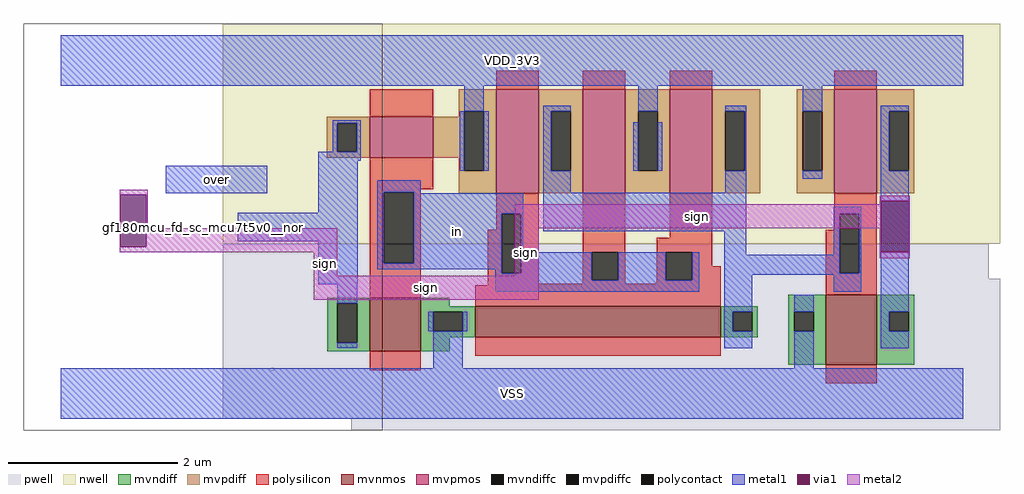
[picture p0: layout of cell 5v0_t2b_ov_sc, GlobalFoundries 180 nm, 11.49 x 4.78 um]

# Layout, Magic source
magic
tech gf180mcuD
magscale 1 10
<< metal1 >>
rect -3336 -1456 -1210 -1336
rect -3088 -1708 -2849 -1644
rect -2919 -1822 -2683 -1754
rect -2504 -1888 -2297 -1708
rect -1773 -1900 -1503 -1853
rect -3336 -2240 -1210 -2120
<< via1 >>
rect -3195 -1835 -3134 -1712
rect -1405 -1848 -1339 -1726
<< metal2 >>
rect -3197 -1712 -3131 -1700
rect -3197 -1835 -3195 -1712
rect -3134 -1791 -3131 -1712
rect -1407 -1726 -1337 -1714
rect -1407 -1735 -1405 -1726
rect -2266 -1791 -1405 -1735
rect -3134 -1835 -2684 -1791
rect -3197 -1847 -2684 -1835
rect -2740 -1903 -2684 -1847
rect -2266 -1903 -2210 -1791
rect -1407 -1848 -1405 -1791
rect -1339 -1848 -1337 -1726
rect -1407 -1861 -1337 -1848
rect -2740 -1959 -2210 -1903
use gf180mcu_fd_sc_mcu7t5v0__nor2_1  gf180mcu_fd_sc_mcu7t5v0__nor2_1_0 $PDKPATH/libs.ref/gf180mcu_fd_sc_mcu7t5v0/mag
transform 1 0 -3336 0 1 -2180
box -86 -86 758 870
use inverter_pair_short  inverter_pair_short_0 /home/eclipse
transform 1 0 -2398 0 1 -2124
box -556 -142 925 814
use not_internal_4  not_internal_4_0 /home/eclipse
transform 1 0 -1658 0 1 -2180
box -86 -86 534 870
<< labels >>
rlabel metal1 -3088 -1708 -2849 -1644 1 over
port 3 n signal bidirectional
rlabel metal2 -3134 -1847 -2684 -1791 1 sign
port 1 n signal bidirectional
rlabel metal2 -2740 -1959 -2684 -1791 1 sign
port 1 n signal bidirectional
rlabel metal2 -2740 -1959 -2210 -1903 1 sign
port 1 n signal bidirectional
rlabel metal2 -2266 -1959 -2210 -1735 1 sign
port 1 n signal bidirectional
rlabel metal2 -2266 -1791 -1405 -1735 1 sign
port 1 n signal bidirectional
rlabel metal1 -2504 -1888 -2297 -1708 1 in
port 2 n signal bidirectional
rlabel metal1 -3336 -2240 -1210 -2120 1 VSS
port 4 n ground bidirectional
rlabel metal1 -3336 -1456 -1210 -1336 1 VDD_3V3
port 5 n power bidirectional
<< end >>

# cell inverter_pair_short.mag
magic
tech gf180mcuD
magscale 1 10
<< nwell >>
rect -556 296 925 814
<< pwell >>
rect -556 4 925 296
rect -556 -1 -444 4
rect -435 -1 925 4
rect -556 -116 925 -1
rect -253 -142 925 -116
<< mvnmos >>
rect -210 43 -90 170
rect 38 77 616 149
<< mvpmos >>
rect -210 499 -60 595
rect 88 416 188 660
rect 292 416 392 660
rect 497 416 597 660
<< mvndiff >>
rect -310 157 -210 170
rect -310 63 -286 157
rect -239 63 -210 157
rect -310 43 -210 63
rect -90 149 -22 170
rect -90 136 38 149
rect -90 90 -61 136
rect 9 90 38 136
rect -90 77 38 90
rect 616 136 704 149
rect 616 90 645 136
rect 691 90 704 136
rect 616 77 704 90
rect -90 43 -22 77
<< mvpdiff >>
rect 0 609 88 660
rect 0 595 13 609
rect -311 580 -210 595
rect -311 513 -287 580
rect -241 513 -210 580
rect -311 499 -210 513
rect -60 499 13 595
rect 0 469 13 499
rect 59 469 88 609
rect 0 416 88 469
rect 188 609 292 660
rect 188 469 217 609
rect 263 469 292 609
rect 188 416 292 469
rect 392 609 497 660
rect 392 469 422 609
rect 468 469 497 609
rect 392 416 497 469
rect 597 609 709 660
rect 597 469 627 609
rect 673 469 709 609
rect 597 416 709 469
<< mvndiffc >>
rect -286 63 -239 157
rect -61 90 9 136
rect 645 90 691 136
<< mvpdiffc >>
rect -287 513 -241 580
rect 13 469 59 609
rect 217 469 263 609
rect 422 469 468 609
rect 627 469 673 609
<< polysilicon >>
rect 88 660 188 704
rect 292 660 392 704
rect 497 660 597 704
rect -210 595 -60 660
rect -210 425 -60 499
rect -210 418 -90 425
rect -210 251 -177 418
rect -106 251 -90 418
rect 88 367 188 416
rect 88 330 101 367
rect -210 170 -90 251
rect 68 227 101 330
rect 147 227 188 367
rect 68 202 188 227
rect 292 276 392 416
rect 497 311 597 416
rect 292 211 313 276
rect 375 211 392 276
rect 292 202 392 211
rect 466 276 597 311
rect 466 211 487 276
rect 549 243 597 276
rect 549 211 616 243
rect 466 202 616 211
rect 68 199 616 202
rect 38 149 616 199
rect -210 -1 -90 43
rect 38 33 616 77
<< polycontact >>
rect -177 251 -106 418
rect 101 227 147 367
rect 313 211 375 276
rect 487 211 549 276
<< metal1 >>
rect -556 668 840 788
rect 13 609 59 668
rect 198 609 263 622
rect -297 580 -231 587
rect -297 513 -287 580
rect -241 513 -231 580
rect -331 492 -231 513
rect -331 201 -238 492
rect 2 469 13 609
rect 59 469 70 609
rect 198 469 217 609
rect 422 609 468 668
rect 411 469 422 583
rect 627 609 676 622
rect 468 469 479 583
rect 673 469 676 609
rect -192 418 -90 446
rect -192 251 -177 418
rect -106 416 -90 418
rect 198 417 263 469
rect 627 417 676 469
rect -106 367 152 416
rect -106 251 101 367
rect -192 236 101 251
rect 86 227 101 236
rect 147 276 152 367
rect 198 326 676 417
rect 147 227 313 276
rect 86 211 313 227
rect 375 211 487 276
rect 549 211 566 276
rect -286 157 -239 201
rect 86 184 566 211
rect 625 224 676 326
rect 625 136 691 224
rect -72 90 -61 136
rect 9 90 20 136
rect 625 90 645 136
rect -286 52 -239 63
rect -61 4 9 90
rect 625 50 691 90
rect -352 -116 840 4
<< labels >>
rlabel metal1 -106 236 101 416 1 in
port 1 n signal bidirectional
rlabel metal1 -331 201 -238 513 1 nti
port 2 n signal bidirectional
rlabel metal1 198 326 676 417 1 pti
port 3 n signal bidirectional
rlabel metal1 -352 -116 840 4 1 VSS
port 4 n ground bidirectional
rlabel metal1 -556 668 840 788 1 VDD_3V3
port 5 n power bidirectional
<< end >>

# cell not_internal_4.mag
magic
tech gf180mcuD
magscale 1 10
<< nwell >>
rect -86 352 534 870
<< pwell >>
rect -86 270 507 352
rect -86 -86 534 270
<< mvnmos >>
rect 124 68 244 232
<< mvpmos >>
rect 144 472 244 716
<< mvndiff >>
rect 36 192 124 232
rect 36 146 49 192
rect 95 146 124 192
rect 36 68 124 146
rect 244 192 332 232
rect 244 146 273 192
rect 319 146 332 192
rect 244 68 332 146
<< mvpdiff >>
rect 56 665 144 716
rect 56 525 69 665
rect 115 525 144 665
rect 56 472 144 525
rect 244 665 332 716
rect 244 525 273 665
rect 319 525 332 665
rect 244 472 332 525
<< mvndiffc >>
rect 49 146 95 192
rect 273 146 319 192
<< mvpdiffc >>
rect 69 525 115 665
rect 273 525 319 665
<< polysilicon >>
rect 144 716 244 760
rect 144 423 244 472
rect 144 386 157 423
rect 124 283 157 386
rect 203 283 244 423
rect 124 232 244 283
rect 124 24 244 68
<< polycontact >>
rect 157 283 203 423
<< metal1 >>
rect 0 724 448 844
rect 69 665 115 724
rect 69 506 115 525
rect 253 665 319 678
rect 253 525 273 665
rect 142 423 207 440
rect 142 283 157 423
rect 203 283 207 423
rect 142 240 207 283
rect 49 192 95 232
rect 49 60 95 146
rect 253 192 319 525
rect 253 146 273 192
rect 253 106 319 146
rect 0 -60 448 60
<< properties >>
string FIXED_BBOX 0 0 448 784
string GDS_END 476332
string GDS_FILE $PDKPATH/libs.ref/gf180mcu_fd_sc_mcu7t5v0/gds/gf180mcu_fd_sc_mcu7t5v0.gds
string GDS_START 474136
string LEFclass core
string LEFsite GF018hv5v_mcu_sc7
string LEFsymmetry X Y
<< end >>
